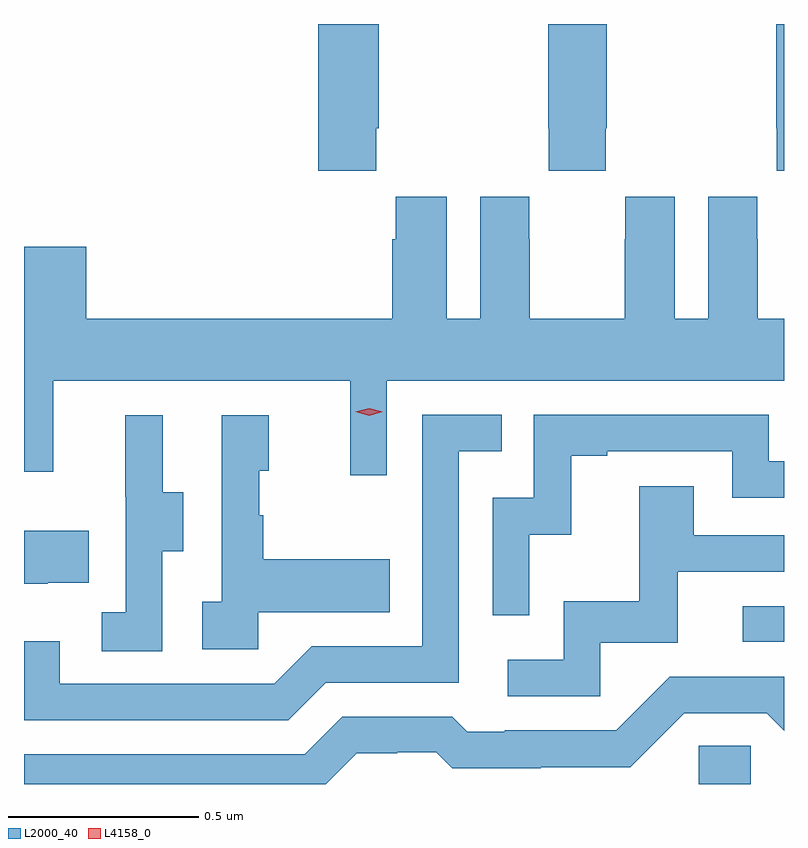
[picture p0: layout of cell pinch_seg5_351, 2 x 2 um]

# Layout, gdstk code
import gdstk
lib = gdstk.Library(unit=1e-6, precision=1e-09)
def R(c, l, rs):  # rectangles x0, y0, x1, y1
    for r in rs: c.add(gdstk.rectangle(r[:2], r[2:], *l))
def P(c, l, *ps):  # polygons
    for p in ps: c.add(gdstk.Polygon(p, *l))
L2000_40 = (2000, 40)
L4158_0 = (4158, 0)

pinch_seg5_351 = lib.new_cell('pinch_seg5_351')
R(pinch_seg5_351, L2000_40, [(993.955,892.995,994.092,893.096), (994.071,893.37,994.18,893.463)])
P(pinch_seg5_351, L2000_40, [(993.711,894.721),(993.714,894.721),(993.714,894.995),(993.559,894.995),(993.559,894.721),(993.561,894.721),(993.561,894.609),(993.711,894.609)],
  [(994.18,894.995),(994.159,894.995),(994.159,894.721),(994.161,894.721),(994.161,894.609),(994.18,894.609)],
  [(993.107,894.721),(993.114,894.721),(993.114,894.995),(992.954,894.995),(992.954,894.609),(993.107,894.609)],
  [(993.135,894.056),(994.18,894.056),(994.18,894.22),(994.111,894.22),(994.111,894.428),(994.11,894.428),(994.11,894.541),(993.98,894.541),(993.98,894.22),(993.892,894.22),(993.892,894.541),(993.762,894.541),(993.762,894.428),(993.761,894.428),(993.761,894.22),(993.511,894.22),(993.511,894.428),(993.51,894.428),(993.51,894.541),(993.38,894.541),(993.38,894.22),(993.292,894.22),(993.292,894.541),(993.158,894.541),(993.158,894.428),(993.149,894.428),(993.149,894.22),(992.344,894.22),(992.344,894.409),(992.18,894.409),(992.18,893.817),(992.257,893.817),(992.257,894.056),(993.038,894.056),(993.038,893.808),(993.135,893.808)],
  [(993.51,893.651),(993.62,893.651),(993.62,893.859),(993.715,893.859),(993.715,893.871),(994.044,893.871),(994.044,893.748),(994.18,893.748),(994.18,893.844),(994.14,893.844),(994.14,893.967),(993.522,893.967),(993.522,893.748),(993.414,893.748),(993.414,893.439),(993.51,893.439)],
  [(992.974,893.262),(993.324,893.262),(993.324,893.871),(993.437,893.871),(993.437,893.967),(993.228,893.967),(993.228,893.358),(992.937,893.358),(992.838,893.259),(992.274,893.259),(992.274,893.371),(992.18,893.371),(992.18,893.163),(992.875,893.163)],
  [(992.544,893.608),(992.599,893.608),(992.599,893.763),(992.545,893.763),(992.545,893.965),(992.447,893.965),(992.447,893.751),(992.448,893.751),(992.448,893.447),(992.385,893.447),(992.385,893.344),(992.544,893.344)],
  [(992.796,893.447),(993.143,893.447),(993.143,893.587),(992.809,893.587),(992.809,893.702),(992.799,893.702),(992.799,893.82),(992.824,893.82),(992.824,893.965),(992.7,893.965),(992.7,893.474),(992.649,893.474),(992.649,893.349),(992.796,893.349)],
  [(993.696,893.367),(993.901,893.367),(993.901,893.553),(994.18,893.553),(994.18,893.649),(993.943,893.649),(993.943,893.779),(993.799,893.779),(993.799,893.476),(993.6,893.476),(993.6,893.322),(993.453,893.322),(993.453,893.226),(993.696,893.226)],
  [(992.243,893.525),(992.351,893.525),(992.351,893.662),(992.18,893.662),(992.18,893.522),(992.243,893.522)],
  [(993.055,893.076),(993.162,893.076),(993.162,893.079),(993.265,893.079),(993.307,893.037),(993.54,893.037),(993.54,893.039),(993.776,893.039),(993.918,893.181),(994.134,893.181),(994.18,893.135),(994.18,893.277),(993.879,893.277),(993.738,893.136),(993.445,893.136),(993.445,893.133),(993.346,893.133),(993.307,893.172),(993.018,893.172),(992.919,893.073),(992.18,893.073),(992.18,892.995),(992.974,892.995)])
P(pinch_seg5_351, L4158_0, [(993.088,893.964),(993.052,893.974),(993.052,893.974),(993.052,893.974),(993.088,893.984),(993.124,893.974),(993.124,893.974),(993.124,893.974)])

lib.write_gds('pinch_seg5_351.gds')
